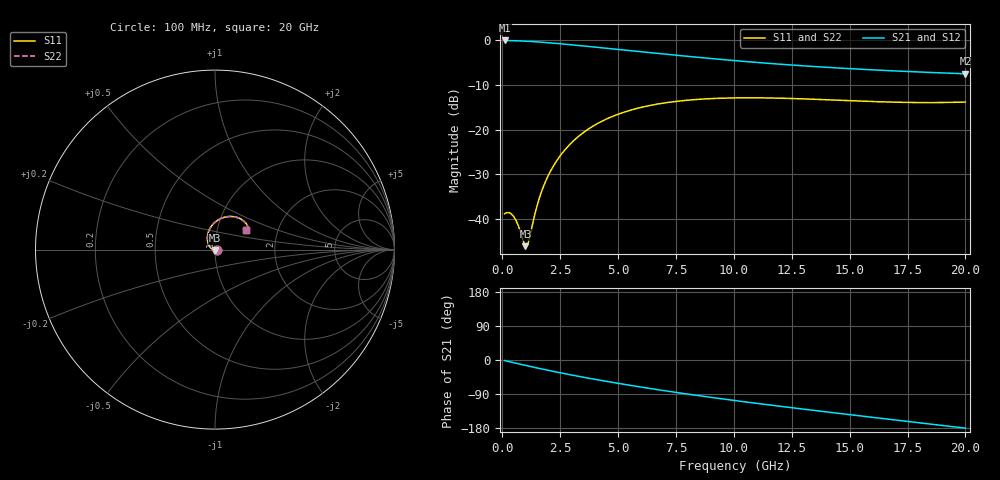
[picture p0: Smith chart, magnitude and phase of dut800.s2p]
! Touchstone file exported from HFSS 2024.1.0
!  File:  C:/UserFiles/LocalFiles/RDL_TSV_Batchsim/temp_RDL_TSV_800_1779910420.aedt
!  Generated:  03:49:20 AM May 28, 2026
!  Design:  RDL_TSV
!  Project:  temp_RDL_TSV_800_1779910420
!  Setup:  Setup1
!  Solution:  Sweep
! Variables:
!  dtsv = 6.17um
!  hbump = 3um
!  htsv = 95.8um
!  ldown = 266.58um
!  lrdl = 408.88um
!  p = 40
!  p1 = 40.22um
!  rhole = 10um
!  subl = 2435.26um
!  t = 450um
!  tdown = 3.79um
!  trdl = 3.88um
!  viad = 10um
!  wdown = 20.79um
!  wrdl = 26.52um
!  xbump = 18um
# GHz S MA R 50.000000
! Terminal data exported
! Port[1] = TM1_1_T1
! Port[2] = TM1_4_T1
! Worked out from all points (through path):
!   200 points, 100 MHz to 20 GHz, reference 50 ohm
!   highest |S21| = -0.10 dB at 100 MHz (marker M1); lowest = -7.5 dB at 20 GHz (marker M2)
!   group delay of S21, straight-line fit = 23.8 ps
!   lowest |S11| = -46.0 dB at 1 GHz (marker M3), VSWR 1.01, Z = 50 - j0.499 ohm
!   |S11| at or under -10 dB: start of sweep to end of sweep
!   |S22| runs from -46.0 to -12.9 dB; largest |S21 - S12| = 1e-14
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0.1  0.01151 -0.2  0.9882 -1.5  0.9882 -1.5  0.01151 -0.2
! Gamma 0 0 0 0
! Port Impedance 50 0 50 0
0.3  0.01182 -7.4  0.9854 -4.4  0.9854 -4.4  0.01182 -7.4
0.5  0.01063 -19.3  0.9821 -7.2  0.9821 -7.2  0.01064 -19.3
0.7  0.008358 -35.6  0.9779 -10.0  0.9779 -10.0  0.008368 -35.6
1  0.004994 -90.3  0.9701 -14.2  0.9701 -14.2  0.005002 -90.1
1.1  0.00519 -120.8  0.967 -15.6  0.967 -15.6  0.005188 -120.6
1.4  0.01118 -175.0  0.9566 -19.6  0.9566 -19.6  0.01115 -174.9
1.6  0.01718 170.2  0.9487 -22.3  0.9487 -22.3  0.01713 170.3
1.8  0.02393 160.3  0.9403 -24.9  0.9403 -24.9  0.02388 160.4
2  0.03122 152.7  0.9315 -27.5  0.9315 -27.5  0.03115 152.8
2.3  0.04286 143.4  0.9175 -31.3  0.9175 -31.3  0.04277 143.4
2.7  0.05921 133.1  0.8982 -36.2  0.8982 -36.2  0.05909 133.1
3.5  0.0925 116.1  0.8583 -45.5  0.8583 -45.5  0.09233 116.2
4.2  0.1201 103.8  0.8236 -53.2  0.8236 -53.2  0.1199 103.9
4.9  0.145 93.2  0.7897 -60.6  0.7897 -60.6  0.1447 93.2
6.8  0.1945 70.3  0.7046 -79.2  0.7046 -79.2  0.1941 70.3
8.4  0.2169 56.0  0.6423 -93.4  0.6423 -93.4  0.2164 56.0
10.1  0.2259 44.7  0.5866 -107.5  0.5866 -107.5  0.2253 44.7
11.7  0.2249 37.0  0.5436 -119.9  0.5436 -119.9  0.2243 37.0
13.4  0.2183 31.7  0.5067 -132.6  0.5067 -132.6  0.2177 31.7
16.7  0.203 28.6  0.4546 -156.4  0.4546 -156.4  0.2024 28.7
20  0.2029 32.0  0.4193 -179.9  0.4193 -179.9  0.2025 32.2
